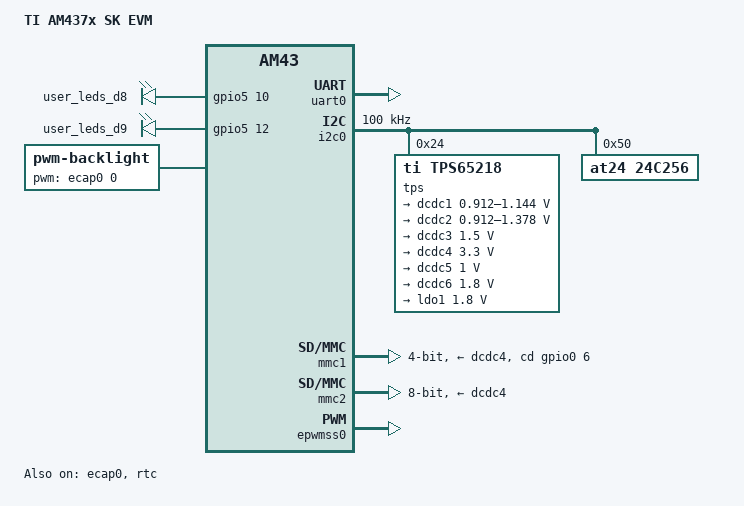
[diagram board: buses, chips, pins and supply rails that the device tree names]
/*
 * Copyright (C) 2015 Embest Technology Co., Ltd., - http://www.embest-tech.com
 *
 * This program is free software; you can redistribute it and/or modify
 * it under the terms of the GNU General Public License version 2 as
 * published by the Free Software Foundation.
 *
 * This dts is for embest own product:
 * SOM-PH8800 + BB-EPH1800
 */
/dts-v1/;

#include "am4372.dtsi"
#include <dt-bindings/pinctrl/am43xx.h>
#include <dt-bindings/pwm/pwm.h>
#include <dt-bindings/gpio/gpio.h>
#include <dt-bindings/input/input.h>

/ {
	model = "TI AM437x SK EVM";
	compatible = "ti,am437x-sk-evm","ti,am4372","ti,am43";

	leds {
		pinctrl-names = "default";
		pinctrl-0 = <&user_leds>;
        
		compatible = "gpio-leds";

		led1 {
			label = "user_leds_d8";
			gpios = <&gpio5 10 GPIO_ACTIVE_HIGH>;
			linux,default-trigger = "none";
			default-state = "on";
		};

		led2 {
			label = "user_leds_d9";
			gpios = <&gpio5 12 GPIO_ACTIVE_HIGH>;
			linux,default-trigger = "none";
			default-state = "on";
		};
	};

	backlight {
		compatible = "pwm-backlight";

		pwms = <&ecap0 0 50000 PWM_POLARITY_INVERTED>;
		brightness-levels = <0 51 53 56 62 75 101 152 255>;
		default-brightness-level = <6>;
	};
};

&cpu {
	cpu0-supply = <&dcdc2>;
};

&uart0 {
	status = "okay";
	pinctrl-names = "default";
	pinctrl-0 = <&uart0_pins>;
};

&i2c0 {
	status = "okay";
	pinctrl-names = "default";
	pinctrl-0 = <&i2c0_pins>;
	clock-frequency = <100000>;

	tps@24 {
		compatible = "ti,tps65218";
		reg = <0x24>;
		interrupts = <GIC_SPI 7 IRQ_TYPE_LEVEL_HIGH>;
		interrupt-controller;
		#interrupt-cells = <2>;

		dcdc1: regulator-dcdc1 {
			compatible = "ti,tps65218-dcdc1";
			/* VDD_CORE limits min of OPP50 and max of OPP100 */
			regulator-name = "vdd_core";
			regulator-min-microvolt = <912000>;
			regulator-max-microvolt = <1144000>;
			regulator-boot-on;
			regulator-always-on;
		};

		dcdc2: regulator-dcdc2 {
			compatible = "ti,tps65218-dcdc2";
			/* VDD_MPU limits min of OPP50 and max of OPP_NITRO */
			regulator-name = "vdd_mpu";
			regulator-min-microvolt = <912000>;
			regulator-max-microvolt = <1378000>;
			regulator-boot-on;
			regulator-always-on;
		};

		dcdc3: regulator-dcdc3 {
			compatible = "ti,tps65218-dcdc3";
			regulator-name = "vdds_ddr";
			regulator-min-microvolt = <1500000>;
			regulator-max-microvolt = <1500000>;
			regulator-boot-on;
			regulator-always-on;
			regulator-state-mem {
				regulator-on-in-suspend;
			};
			regulator-state-disk {
				regulator-off-in-suspend;
			};
		};

		dcdc4: regulator-dcdc4 {
			compatible = "ti,tps65218-dcdc4";
			regulator-name = "v3_3d";
			regulator-min-microvolt = <3300000>;
			regulator-max-microvolt = <3300000>;
			regulator-boot-on;
			regulator-always-on;
		};

		dcdc5: regulator-dcdc5 {
			compatible = "ti,tps65218-dcdc5";
			regulator-name = "v1_0bat";
			regulator-min-microvolt = <1000000>;
			regulator-max-microvolt = <1000000>;
			regulator-boot-on;
			regulator-always-on;
			regulator-state-mem {
				regulator-on-in-suspend;
			};
		};

		dcdc6: regulator-dcdc6 {
			compatible = "ti,tps65218-dcdc6";
			regulator-name = "v1_8bat";
			regulator-min-microvolt = <1800000>;
			regulator-max-microvolt = <1800000>;
			regulator-boot-on;
			regulator-always-on;
			regulator-state-mem {
				regulator-on-in-suspend;
			};
		};

		ldo1: regulator-ldo1 {
			compatible = "ti,tps65218-ldo1";
			regulator-name = "v1_8d";
			regulator-min-microvolt = <1800000>;
			regulator-max-microvolt = <1800000>;
			regulator-boot-on;
			regulator-always-on;
		};

		power-button {
			compatible = "ti,tps65218-pwrbutton";
			status = "okay";
			interrupts = <3 IRQ_TYPE_EDGE_BOTH>;
		};
	};

	at24@50 {
		compatible = "at24,24c256";
		pagesize = <64>;
		reg = <0x50>;
	};
};

&mmc1 {
	status = "okay";
	pinctrl-names = "default", "sleep";
	pinctrl-0 = <&mmc1_pins>;
	pinctrl-1 = <&mmc1_pins_sleep>;

	vmmc-supply = <&dcdc4>;
	bus-width = <4>;
	cd-gpios = <&gpio0 6 GPIO_ACTIVE_HIGH>;
};

/* eMMC sits on mmc2 */
&mmc2 {
	/*
	 * When enabling eMMC, disable GPMC/NAND and set
	 * SelEMMCorNAND to output-high
	 */
	status = "okay";
	vmmc-supply = <&dcdc4>;
	bus-width = <8>;
	pinctrl-names = "default", "sleep";
	pinctrl-0 = <&emmc_pins_default>;
	pinctrl-1 = <&emmc_pins_sleep>;
	ti,non-removable;
};

&gpio0 {
	status = "okay";
};

/* This is needed for LED according to LED pins */
&gpio5 {
	status = "okay";
};

/* This is needed for backlight */
&epwmss0 {
	status = "okay";
};

/* This is needed for backlight */
&ecap0 {
	status = "okay";
	pinctrl-names = "default";
	pinctrl-0 = <&ecap0_pins>;
};

&rtc {
	status = "okay";
	ext-clk-src;
};

&am43xx_pinmux {
	/* UART0 pins: rxd & txd */
	uart0_pins: pinmux_uart0_pins {
		pinctrl-single,pins = <
			0x170 (PIN_INPUT_PULLUP | MUX_MODE0)	/* uart0_rxd.uart0_rxd */
			0x174 (PIN_OUTPUT_PULLDOWN | MUX_MODE0)	/* uart0_txd.uart0_txd */
		>;
	};

	/* I2C0 pins: sda & scl */
	i2c0_pins: i2c0_pins {
		pinctrl-single,pins = <
			0x188 (PIN_INPUT | SLEWCTRL_FAST | MUX_MODE0)  /* i2c0_sda.i2c0_sda */
			0x18c (PIN_INPUT | SLEWCTRL_FAST | MUX_MODE0)  /* i2c0_scl.i2c0_scl */
		>;
	};

	/* MMC1 pins:  data0 - data3; clk; cmd; detect pin */
	mmc1_pins: pinmux_mmc1_pins {
		pinctrl-single,pins = <
			0x0f0 (PIN_INPUT | MUX_MODE0) /* mmc0_dat3.mmc0_dat3 */
			0x0f4 (PIN_INPUT | MUX_MODE0) /* mmc0_dat2.mmc0_dat2 */
			0x0f8 (PIN_INPUT | MUX_MODE0) /* mmc0_dat1.mmc0_dat1 */
			0x0fc (PIN_INPUT | MUX_MODE0) /* mmc0_dat0.mmc0_dat0 */
			0x100 (PIN_INPUT | MUX_MODE0) /* mmc0_clk.mmc0_clk */
			0x104 (PIN_INPUT | MUX_MODE0) /* mmc0_cmd.mmc0_cmd */
			0x160 (PIN_INPUT | MUX_MODE7) /* spi0_cs1.gpio0_6 */
		>;
	};

	/* MMC1 pins:  data0 - data3; clk; cmd; detect pin */
	mmc1_pins_sleep: pinmux_mmc1_pins_sleep {
		pinctrl-single,pins = <
			0x0F0 (PIN_INPUT_PULLDOWN | MUX_MODE7)
			0x0F4 (PIN_INPUT_PULLDOWN | MUX_MODE7)
			0x0F8 (PIN_INPUT_PULLDOWN | MUX_MODE7)
			0x0FC (PIN_INPUT_PULLDOWN | MUX_MODE7)
			0x100 (PIN_INPUT_PULLDOWN | MUX_MODE7)
			0x104 (PIN_INPUT_PULLDOWN | MUX_MODE7)
			0x1A0 (PIN_INPUT_PULLDOWN | MUX_MODE7)
			0x160 (PIN_INPUT_PULLDOWN | MUX_MODE7)
		>;
	};

	/* eMMC pins:  data0 - data7; clk; cmd;  */
	emmc_pins_default: emmc_pins_default {
		pinctrl-single,pins = <
			0x00 (PIN_INPUT_PULLUP | MUX_MODE1) /* gpmc_ad0.mmc1_dat0 */
			0x04 (PIN_INPUT_PULLUP | MUX_MODE1) /* gpmc_ad1.mmc1_dat1 */
			0x08 (PIN_INPUT_PULLUP | MUX_MODE1) /* gpmc_ad2.mmc1_dat2 */
			0x0c (PIN_INPUT_PULLUP | MUX_MODE1) /* gpmc_ad3.mmc1_dat3 */
			0x10 (PIN_INPUT_PULLUP | MUX_MODE1) /* gpmc_ad4.mmc1_dat4 */
			0x14 (PIN_INPUT_PULLUP | MUX_MODE1) /* gpmc_ad5.mmc1_dat5 */
			0x18 (PIN_INPUT_PULLUP | MUX_MODE1) /* gpmc_ad6.mmc1_dat6 */
			0x1c (PIN_INPUT_PULLUP | MUX_MODE1) /* gpmc_ad7.mmc1_dat7 */
			0x80 (PIN_INPUT_PULLUP | MUX_MODE2) /* gpmc_csn1.mmc1_clk */
			0x84 (PIN_INPUT_PULLUP | MUX_MODE2) /* gpmc_csn2.mmc1_cmd */
		>;
	};

	emmc_pins_sleep: emmc_pins_sleep {
		pinctrl-single,pins = <
			0x00 (PIN_INPUT_PULLDOWN | MUX_MODE7) /* gpmc_ad0.gpio1_0 */
			0x04 (PIN_INPUT_PULLDOWN | MUX_MODE7) /* gpmc_ad1.gpio1_1 */
			0x08 (PIN_INPUT_PULLDOWN | MUX_MODE7) /* gpmc_ad2.gpio1_2 */
			0x0c (PIN_INPUT_PULLDOWN | MUX_MODE7) /* gpmc_ad3.gpio1_3 */
			0x10 (PIN_INPUT_PULLDOWN | MUX_MODE7) /* gpmc_ad4.gpio1_4 */
			0x14 (PIN_INPUT_PULLDOWN | MUX_MODE7) /* gpmc_ad5.gpio1_5 */
			0x18 (PIN_INPUT_PULLDOWN | MUX_MODE7) /* gpmc_ad6.gpio1_6 */
			0x1c (PIN_INPUT_PULLDOWN | MUX_MODE7) /* gpmc_ad7.gpio1_7 */
			0x80 (PIN_INPUT_PULLDOWN | MUX_MODE7) /* gpmc_csn1.gpio1_30 */
			0x84 (PIN_INPUT_PULLDOWN | MUX_MODE7) /* gpmc_csn2.gpio1_31 */
		>;
	};

	user_leds: user_leds {
		pinctrl-single,pins = <
			0x240 (PIN_OUTPUT | MUX_MODE7)	/* gpmc_csn3.gpio5_10 */
			0x248 (PIN_OUTPUT | MUX_MODE7)	/* gpmc_ben1.gpio5_12 */
		>;
	};

	ecap0_pins: backlight_pins {
		pinctrl-single,pins = <
			0x164 (PIN_OUTPUT | MUX_MODE0) /* eCAP0_in_PWM0_out.eCAP0_in_PWM0_out */
		>;
	};
};
